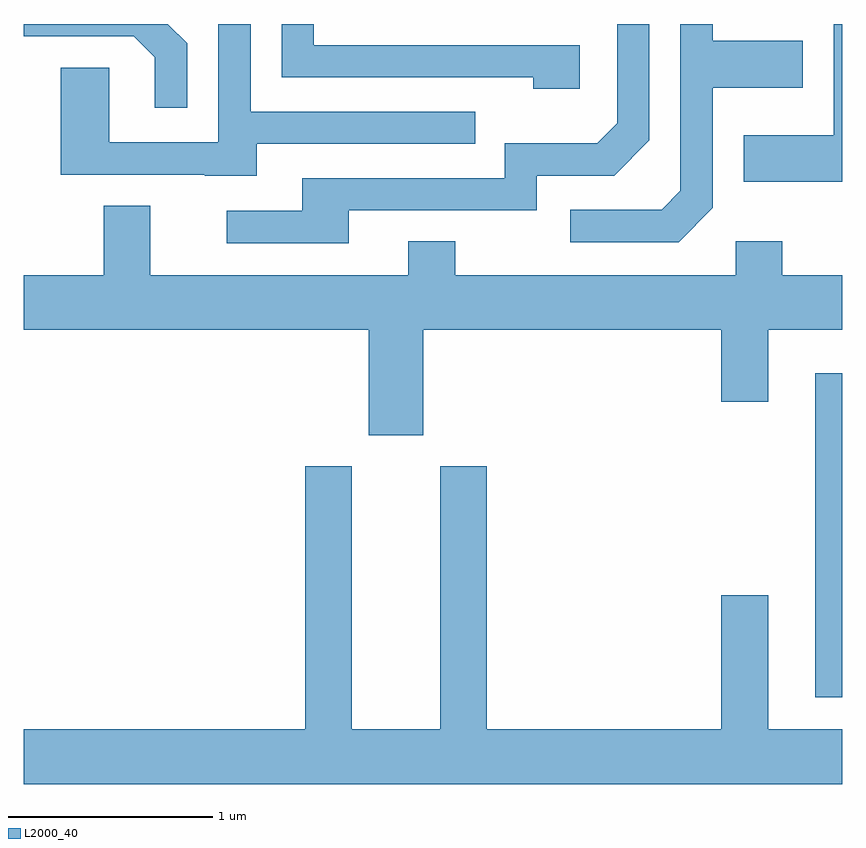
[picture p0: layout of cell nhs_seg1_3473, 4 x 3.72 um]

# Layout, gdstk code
import gdstk
lib = gdstk.Library(unit=1e-6, precision=1e-09)
def R(c, l, rs):  # rectangles x0, y0, x1, y1
    for r in rs: c.add(gdstk.rectangle(r[:2], r[2:], *l))
def P(c, l, *ps):  # polygons
    for p in ps: c.add(gdstk.Polygon(p, *l))
L2000_40 = (2000, 40)

nhs_seg1_3473 = lib.new_cell('nhs_seg1_3473')
R(nhs_seg1_3473, L2000_40, [(293.481,924.421,293.611,926.004)])
P(nhs_seg1_3473, L2000_40, [(293.611,927.712),(293.571,927.712),(293.571,927.169),(293.131,927.169),(293.131,926.941),(293.611,926.941)],
  [(291.199,926.801),(292.119,926.801),(292.119,926.971),(292.497,926.971),(292.669,927.144),(292.669,927.712),(292.511,927.712),(292.511,927.227),(292.414,927.129),(291.961,927.129),(291.961,926.959),(290.971,926.959),(290.971,926.799),(290.603,926.799),(290.603,926.641),(291.199,926.641)],
  [(290.749,927.126),(291.818,927.126),(291.818,927.284),(290.719,927.284),(290.719,927.712),(290.561,927.712),(290.561,927.134),(290.029,927.134),(290.029,927.499),(289.791,927.499),(289.791,926.976),(290.495,926.976),(290.495,926.971),(290.749,926.971)],
  [(292.979,926.814),(292.979,927.401),(293.419,927.401),(293.419,927.629),(292.979,927.629),(292.979,927.712),(292.821,927.712),(292.821,926.897),(292.729,926.804),(292.283,926.804),(292.283,926.646),(292.812,926.646)],
  [(290.409,927.617),(290.314,927.712),(289.611,927.712),(289.611,927.651),(290.149,927.651),(290.251,927.549),(290.251,927.303),(290.409,927.303)],
  [(292.329,927.609),(291.029,927.609),(291.029,927.712),(290.871,927.712),(290.871,927.451),(292.101,927.451),(292.101,927.396),(292.329,927.396)],
  [(291.564,926.216),(293.021,926.216),(293.021,925.866),(293.249,925.866),(293.249,926.216),(293.611,926.216),(293.611,926.484),(293.319,926.484),(293.319,926.649),(293.091,926.649),(293.091,926.484),(291.719,926.484),(291.719,926.649),(291.491,926.649),(291.491,926.484),(290.229,926.484),(290.229,926.824),(290.001,926.824),(290.001,926.484),(289.611,926.484),(289.611,926.216),(291.296,926.216),(291.296,925.701),(291.564,925.701)],
  [(293.611,924.264),(293.249,924.264),(293.249,924.919),(293.021,924.919),(293.021,924.264),(291.874,924.264),(291.874,925.549),(291.646,925.549),(291.646,924.264),(291.214,924.264),(291.214,925.549),(290.986,925.549),(290.986,924.264),(289.611,924.264),(289.611,923.996),(293.611,923.996)])

lib.write_gds('nhs_seg1_3473.gds')
